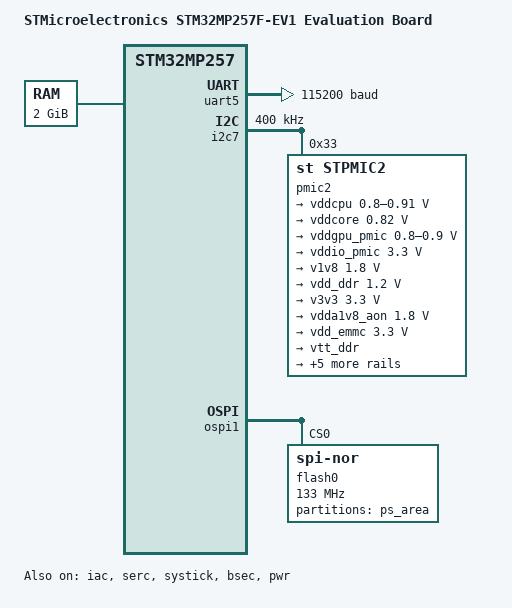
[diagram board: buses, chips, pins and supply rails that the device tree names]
// SPDX-License-Identifier: (GPL-2.0-or-later OR BSD-3-Clause)
/*
 * Copyright (C) STMicroelectronics 2023 - All Rights Reserved
 */

/dts-v1/;

#include <dt-bindings/clock/stm32mp25-clksrc.h>
#include <dt-bindings/reset/stm32mp25-resets.h>

#include "stm32mp257.dtsi"
#include "stm32mp257f-ev1-resmem.dtsi"
#include "stm32mp257f-ev1-cm33tdcid-rcc.dtsi"
#include "stm32mp257f-ev1-cm33tdcid-s-rif.dtsi"
#include "stm32mp25-pinctrl.dtsi"
#include "stm32mp25xxai-pinctrl.dtsi"

/ {
	model = "STMicroelectronics STM32MP257F-EV1 Evaluation Board";
	compatible = "st,stm32mp257f-ev1", "st,stm32mp257";

	aliases {
		serial0 = &uart5;
	};

	chosen {
		stdout-device = &uart5;
	};

	memory@80000000 {
		device_type = "memory";
		reg = <0x80000000 0x80000000>;
	};
};

&iac {
	status = "okay";
};

&serc {
	status = "okay";
};

&uart5 {
	pinctrl-names = "default";
	pinctrl-0 = <&uart5_pins_a>;
	clocks = <&rcc CK_KER_UART5>;
	current-speed = <115200>;
	status = "okay";
};

&systick {
	clocks = <&rcc CK_ICN_HS_MCU>;
	clock-frequency = <1000000>; /* tick at 1us */
	status = "okay";
};

&i2c7 {
	pinctrl-names = "default", "sleep";
	pinctrl-0 = <&i2c7_pins_a>;
	pinctrl-1 = <&i2c7_sleep_pins_a>;
	i2c-scl-rising-time-ns = <185>;
	i2c-scl-falling-time-ns = <20>;
	clock-frequency = <400000>;
	status = "okay";

	#address-cells = <1>;
	#size-cells = <0>;

	pmic2: stpmic2@33 {
		compatible = "st,stpmic2";
		reg = <0x33>;
		status = "okay";

		regulators {
			compatible = "st,stpmic2-regulators";

			vddcpu: buck1 {
				regulator-name = "vddcpu";
				regulator-min-microvolt = <800000>;
				regulator-max-microvolt = <910000>;
				regulator-always-on;
			};
			vddcore: buck2 {
				regulator-name = "vddcore";
				regulator-min-microvolt = <820000>;
				regulator-max-microvolt = <820000>;
				regulator-always-on;
			};
			vddgpu_pmic: buck3 {
				regulator-name = "vddgpu_pmic";
				regulator-min-microvolt = <800000>;
				regulator-max-microvolt = <900000>;
				regulator-always-on;
			};
			vddio_pmic: buck4 {
				regulator-name = "vddio_pmic";
				regulator-min-microvolt = <3300000>;
				regulator-max-microvolt = <3300000>;
				regulator-always-on;
				st,mask-reset;
			};
			v1v8: buck5 {
				regulator-name = "v1v8";
				regulator-min-microvolt = <1800000>;
				regulator-max-microvolt = <1800000>;
				regulator-always-on;
			};
			vdd_ddr: buck6 {
				regulator-name = "vdd_ddr";
				regulator-min-microvolt = <1200000>;
				regulator-max-microvolt = <1200000>;
			};
			v3v3: buck7 {
				regulator-name = "v3v3";
				regulator-min-microvolt = <3300000>;
				regulator-max-microvolt = <3300000>;
				regulator-always-on;
			};
			vdda1v8_aon: ldo1 {
				regulator-name = "vdda1v8_aon";
				regulator-min-microvolt = <1800000>;
				regulator-max-microvolt = <1800000>;
				regulator-always-on;
				st,mask-reset;
			};
			vdd_emmc: ldo2 {
				regulator-name = "vdd_emmc";
				regulator-min-microvolt = <3300000>;
				regulator-max-microvolt = <3300000>;
			};
			vtt_ddr: ldo3 {
				regulator-name = "vtt_ddr";
				st,sink-source;
			};
			vdd3v3_usb: ldo4 {
				regulator-name = "vdd3v3_usb";
				regulator-min-microvolt = <3300000>;
				regulator-max-microvolt = <3300000>;
				regulator-always-on;
			};
			vpp_ddr: ldo5 {
				regulator-name = "vpp_ddr";
				regulator-min-microvolt = <2500000>;
				regulator-max-microvolt = <2500000>;
			};
			vdd_sdcard: ldo7 {
				regulator-name = "vdd_sdcard";
				regulator-min-microvolt = <3300000>;
				regulator-max-microvolt = <3300000>;
				regulator-always-on;
				st,regulator-bypass-microvolt = <3300000>;
			};
			vddio_sdcard: ldo8 {
				regulator-name = "vddio_sdcard";
				regulator-min-microvolt = <1800000>;
				regulator-max-microvolt = <3300000>;
				st,regulator-bypass-microvolt = <3300000>;
			};
			vref_ddr: refddr {
				regulator-name = "vref_ddr";
			};
		};
	};
};

&ospi1 {
	pinctrl-names = "default";
	pinctrl-0 = <&ospi1_clk_pins_a
		     &ospi1_io03_pins_a
		     &ospi1_cs0_pins_a>;
	memory-region = <&mm_ospi2>;
	#address-cells = <1>;
	#size-cells = <0>;
	status = "okay";

	flash0: flash@0 {
		compatible = "jedec,spi-nor";
		reg = <0>;
		spi-rx-bus-width = <4>;
		spi-tx-bus-width = <4>;
		spi-max-frequency = <133000000>;
		size = <0x4000000>;
		erase-size = <0x1000>;
		write-size = <256>;
		read-cmd = "READ_1_1_4_4B";
		write-cmd = "WRITE_1_4_4_4B";
		erase-cmd = "SE_4B";

		partitions {
			compatible = "fixed-partitions";
			#address-cells = <1>;
			#size-cells = <1>;

			tfm_ps_partition: partition@4 {
				label = "ps_area";
				reg = <0x01300000 0x00010000>;
			};
		};
	};
};

&bsec {
	memory-region = <&bsec_mirror>;
	status = "okay";
};

&pwr {
	status = "okay";
};
